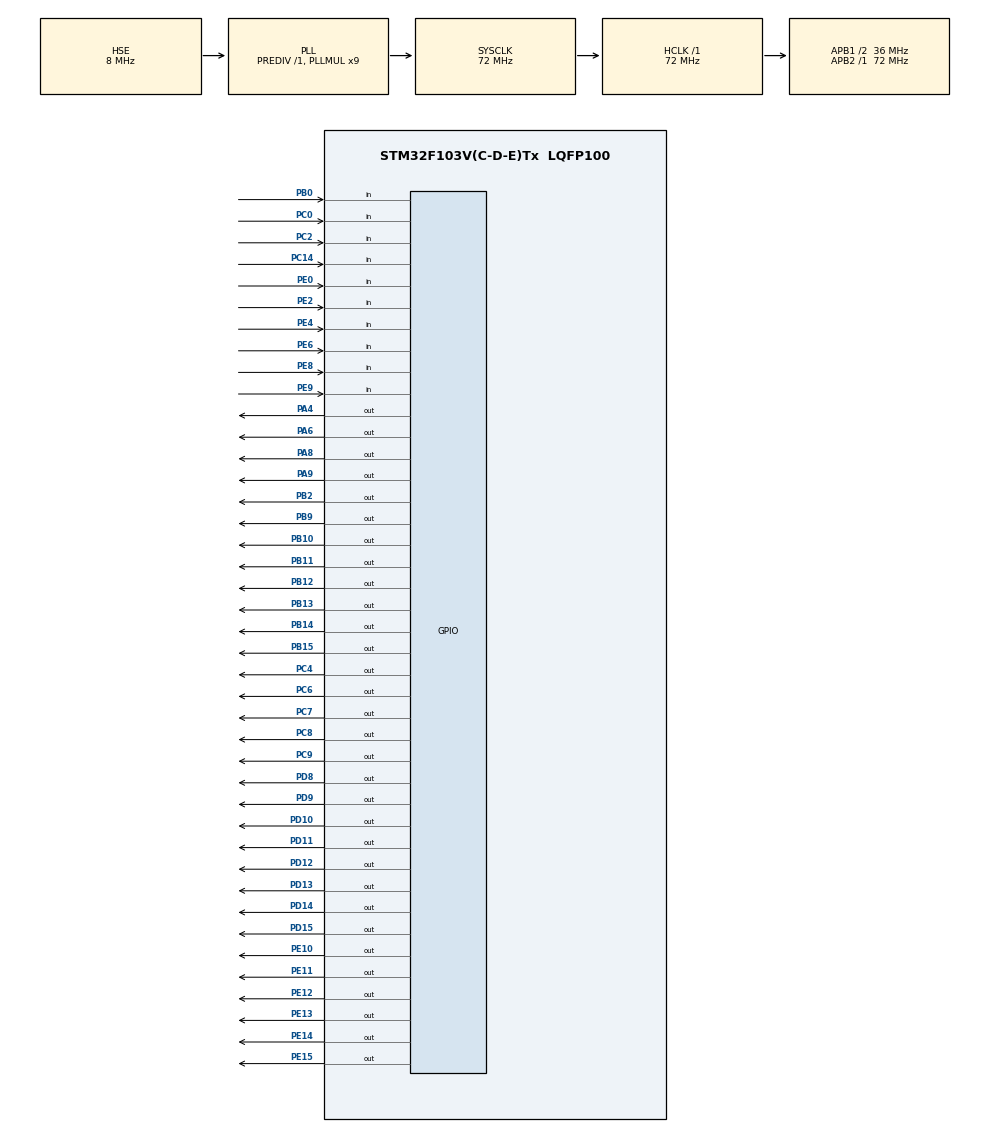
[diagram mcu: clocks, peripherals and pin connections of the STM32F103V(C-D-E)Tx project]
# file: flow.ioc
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Mcu.Family=STM32F1
Mcu.Name=STM32F103V(C-D-E)Tx
Mcu.Package=LQFP100
NVIC.PriorityGroup=NVIC_PRIORITYGROUP_4
NVIC.TIM2_IRQn=true\:0\:0\:false\:false\:true
OSC_IN.Mode=HSE-External-Oscillator
OSC_IN.Signal=RCC_OSC_IN
OSC_OUT.Mode=HSE-External-Oscillator
OSC_OUT.Signal=RCC_OSC_OUT
PA13.Mode=JTAG_4_pins
PA13.Signal=SYS_JTMS-SWDIO
PA14.Mode=JTAG_4_pins
PA14.Signal=SYS_JTCK-SWCLK
PA15.Mode=JTAG_4_pins
PA15.Signal=SYS_JTDI
PA4.Signal=GPIO_Output
PA6.Signal=GPIO_Output
PA8.Signal=GPIO_Output
PA9.Signal=GPIO_Output
PB0.GPIO_PuPd=GPIO_PULLUP
PB0.Signal=GPIO_Input
PB10.Signal=GPIO_Output
PB11.Signal=GPIO_Output
PB12.Signal=GPIO_Output
PB13.Signal=GPIO_Output
PB14.Signal=GPIO_Output
PB15.Signal=GPIO_Output
PB2.Signal=GPIO_Output
PB3.Mode=JTAG_4_pins
PB3.Signal=SYS_JTDO-TRACESWO
PB9.Signal=GPIO_Output
PC0.GPIO_PuPd=GPIO_PULLUP
PC0.Signal=GPIO_Input
PC14-OSC32_IN.GPIO_PuPd=GPIO_PULLUP
PC14-OSC32_IN.Signal=GPIO_Input
PC2.GPIO_PuPd=GPIO_PULLUP
PC2.Signal=GPIO_Input
PC4.Signal=GPIO_Output
PC6.Signal=GPIO_Output
PC7.Signal=GPIO_Output
PC8.Signal=GPIO_Output
PC9.Signal=GPIO_Output
PD10.Signal=GPIO_Output
PD11.Signal=GPIO_Output
PD12.Signal=GPIO_Output
PD13.Signal=GPIO_Output
PD14.Signal=GPIO_Output
PD15.Signal=GPIO_Output
PD8.Signal=GPIO_Output
PD9.Signal=GPIO_Output
PE0.GPIO_PuPd=GPIO_PULLUP
PE0.Signal=GPIO_Input
PE10.Signal=GPIO_Output
PE11.Signal=GPIO_Output
PE12.Signal=GPIO_Output
PE13.Signal=GPIO_Output
PE14.Signal=GPIO_Output
PE15.Signal=GPIO_Output
PE2.GPIO_PuPd=GPIO_PULLUP
PE2.Signal=GPIO_Input
PE4.GPIO_PuPd=GPIO_PULLUP
PE4.Signal=GPIO_Input
PE6.GPIO_PuPd=GPIO_PULLUP
PE6.Signal=GPIO_Input
PE8.GPIO_PuPd=GPIO_PULLUP
PE8.Signal=GPIO_Input
PE9.GPIO_PuPd=GPIO_PULLUP
PE9.Signal=GPIO_Input
ProjectManager.HeapSize=0x200
ProjectManager.StackSize=0x400
ProjectManager.TargetToolchain=MDK-ARM V5
RCC.AHBFreq_Value=72000000
RCC.APB1CLKDivider=RCC_HCLK_DIV2
RCC.APB1Freq_Value=36000000
RCC.APB1TimFreq_Value=72000000
RCC.APB2Freq_Value=72000000
RCC.APB2TimFreq_Value=72000000
RCC.HCLKFreq_Value=72000000
RCC.HSIState=RCC_HSI_ON
RCC.PLLMUL=RCC_PLL_MUL9
RCC.PLLSourceVirtual=RCC_PLLSOURCE_HSE
RCC.SYSCLKFreq_VALUE=72000000
RCC.SYSCLKSource=RCC_SYSCLKSOURCE_PLLCLK
RCC.USBFreq_Value=72000000
TIM2.Period=100-1
TIM2.Prescaler=72-1
VP_TIM2_VS_ClockSourceINT.Mode=Internal
board=flow

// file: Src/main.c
/**
  ******************************************************************************
  * File Name          : main.c
  * Description        : Main program body
  ******************************************************************************
  *
  * COPYRIGHT(c) 2016 STMicroelectronics
  *
  * Redistribution and use in source and binary forms, with or without modification,
  * are permitted provided that the following conditions are met:
  *   1. Redistributions of source code must retain the above copyright notice,
  *      this list of conditions and the following disclaimer.
  *   2. Redistributions in binary form must reproduce the above copyright notice,
  *      this list of conditions and the following disclaimer in the documentation
  *      and/or other materials provided with the distribution.
  *   3. Neither the name of STMicroelectronics nor the names of its contributors
  *      may be used to endorse or promote products derived from this software
  *      without specific prior written permission.
  *
  * THIS SOFTWARE IS PROVIDED BY THE COPYRIGHT HOLDERS AND CONTRIBUTORS "AS IS"
  * AND ANY EXPRESS OR IMPLIED WARRANTIES, INCLUDING, BUT NOT LIMITED TO, THE
  * IMPLIED WARRANTIES OF MERCHANTABILITY AND FITNESS FOR A PARTICULAR PURPOSE ARE
  * DISCLAIMED. IN NO EVENT SHALL THE COPYRIGHT HOLDER OR CONTRIBUTORS BE LIABLE
  * FOR ANY DIRECT, INDIRECT, INCIDENTAL, SPECIAL, EXEMPLARY, OR CONSEQUENTIAL
  * DAMAGES (INCLUDING, BUT NOT LIMITED TO, PROCUREMENT OF SUBSTITUTE GOODS OR
  * SERVICES; LOSS OF USE, DATA, OR PROFITS; OR BUSINESS INTERRUPTION) HOWEVER
  * CAUSED AND ON ANY THEORY OF LIABILITY, WHETHER IN CONTRACT, STRICT LIABILITY,
  * OR TORT (INCLUDING NEGLIGENCE OR OTHERWISE) ARISING IN ANY WAY OUT OF THE USE
  * OF THIS SOFTWARE, EVEN IF ADVISED OF THE POSSIBILITY OF SUCH DAMAGE.
  *
  ******************************************************************************
  */
#include "stm32f1xx_hal.h"

/* USER CODE BEGIN Includes */
#include "userinc.h"
#include "key.h"
#include "flow.h"
#include "OLED.h"
/* USER CODE END Includes */

TIM_HandleTypeDef htim2;

/* USER CODE BEGIN PV */
/* Private variables ---------------------------------------------------------*/
int key_last,key_get,key_now,key_push;
extern int led_pwm[25],led_play[25],light[25];
long Time;
int string_show;
/* USER CODE END PV */

void SystemClock_Config(void);
void Error_Handler(void);
static void MX_GPIO_Init(void);
static void MX_TIM2_Init(void);

/* USER CODE BEGIN PFP */
/* Private function prototypes -----------------------------------------------*/
void init_all(void);
/* USER CODE END PFP */

int main(void)
{

  /* MCU Configuration----------------------------------------------------------*/

  /* Reset of all peripherals, Initializes the Flash interface and the Systick. */
  HAL_Init();

  /* Configure the system clock */
  SystemClock_Config();

  /* Initialize all configured peripherals */
  MX_GPIO_Init();
  MX_TIM2_Init();

  /* USER CODE BEGIN 2 */
	init_all();
  /* USER CODE END 2 */

  /* Infinite loop */
  while (1)
  {

  /* USER CODE BEGIN 3 */
		/*oled屏幕随人经过而显示*/
		LCD_P6x8Str(30,0,"Group 6");
		switch(string_show)
		{
			case 0:LCD_CLS();break;

			case 17:LCD_P6x8Str(24+60,4,"y");
			case 16:LCD_P6x8Str(24+54,4,"t");
			case 15:LCD_P6x8Str(24+48,4,"i");
			case 14:LCD_P6x8Str(24+42,4,"s");
			case 13:LCD_P6x8Str(24+36,4,"r");
			case 12:LCD_P6x8Str(24+30,4,"e");
			case 11:LCD_P6x8Str(24+24,4,"v");
			case 10:LCD_P6x8Str(24+18,4,"i");
			case 9:LCD_P6x8Str (24+12,4,"n");
			case 8:LCD_P6x8Str (24+6,4,"U");

			case 7:LCD_P6x8Str(36+42,2,"n");
			case 6:LCD_P6x8Str(36+36,2,"i");
			case 5:LCD_P6x8Str(36+30,2,"j");
			case 4:LCD_P6x8Str(36+24,2,"n");
			case 3:LCD_P6x8Str(36+18,2,"a");
			case 2:LCD_P6x8Str(36+12,2,"i");
			case 1:LCD_P6x8Str(36+6,2,"T");

			default : break;
		}
  }
  /* USER CODE END 3 */

}

/** System Clock Configuration
*/
void SystemClock_Config(void)
{

  RCC_OscInitTypeDef RCC_OscInitStruct;
  RCC_ClkInitTypeDef RCC_ClkInitStruct;

  RCC_OscInitStruct.OscillatorType = RCC_OSCILLATORTYPE_HSE;
  RCC_OscInitStruct.HSEState = RCC_HSE_ON;
  RCC_OscInitStruct.HSEPredivValue = RCC_HSE_PREDIV_DIV1;
  RCC_OscInitStruct.PLL.PLLState = RCC_PLL_ON;
  RCC_OscInitStruct.PLL.PLLSource = RCC_PLLSOURCE_HSE;
  RCC_OscInitStruct.PLL.PLLMUL = RCC_PLL_MUL9;
  if (HAL_RCC_OscConfig(&RCC_OscInitStruct) != HAL_OK)
  {
    Error_Handler();
  }

  RCC_ClkInitStruct.ClockType = RCC_CLOCKTYPE_HCLK|RCC_CLOCKTYPE_SYSCLK
                              |RCC_CLOCKTYPE_PCLK1|RCC_CLOCKTYPE_PCLK2;
  RCC_ClkInitStruct.SYSCLKSource = RCC_SYSCLKSOURCE_PLLCLK;
  RCC_ClkInitStruct.AHBCLKDivider = RCC_SYSCLK_DIV1;
  RCC_ClkInitStruct.APB1CLKDivider = RCC_HCLK_DIV2;
  RCC_ClkInitStruct.APB2CLKDivider = RCC_HCLK_DIV1;
  if (HAL_RCC_ClockConfig(&RCC_ClkInitStruct, FLASH_LATENCY_2) != HAL_OK)
  {
    Error_Handler();
  }

  HAL_SYSTICK_Config(HAL_RCC_GetHCLKFreq()/1000);

  HAL_SYSTICK_CLKSourceConfig(SYSTICK_CLKSOURCE_HCLK);

  /* SysTick_IRQn interrupt configuration */
  HAL_NVIC_SetPriority(SysTick_IRQn, 0, 0);
}

/* TIM2 init function */
static void MX_TIM2_Init(void)
{

  TIM_ClockConfigTypeDef sClockSourceConfig;
  TIM_MasterConfigTypeDef sMasterConfig;

  htim2.Instance = TIM2;
  htim2.Init.Prescaler = 72-1;
  htim2.Init.CounterMode = TIM_COUNTERMODE_UP;
  htim2.Init.Period = 100-1;
  htim2.Init.ClockDivision = TIM_CLOCKDIVISION_DIV1;
  if (HAL_TIM_Base_Init(&htim2) != HAL_OK)
  {
    Error_Handler();
  }

  sClockSourceConfig.ClockSource = TIM_CLOCKSOURCE_INTERNAL;
  if (HAL_TIM_ConfigClockSource(&htim2, &sClockSourceConfig) != HAL_OK)
  {
    Error_Handler();
  }

  sMasterConfig.MasterOutputTrigger = TIM_TRGO_RESET;
  sMasterConfig.MasterSlaveMode = TIM_MASTERSLAVEMODE_DISABLE;
  if (HAL_TIMEx_MasterConfigSynchronization(&htim2, &sMasterConfig) != HAL_OK)
  {
    Error_Handler();
  }

}

/** Configure pins as
        * Analog
        * Input
        * Output
        * EVENT_OUT
        * EXTI
*/
static void MX_GPIO_Init(void)
{

  GPIO_InitTypeDef GPIO_InitStruct;

  /* GPIO Ports Clock Enable */
  __HAL_RCC_GPIOE_CLK_ENABLE();
  __HAL_RCC_GPIOC_CLK_ENABLE();
  __HAL_RCC_GPIOA_CLK_ENABLE();
  __HAL_RCC_GPIOB_CLK_ENABLE();
  __HAL_RCC_GPIOD_CLK_ENABLE();

  /*Configure GPIO pins : PE2 PE4 PE6 PE8
                           PE9 PE0 */
  GPIO_InitStruct.Pin = GPIO_PIN_2|GPIO_PIN_4|GPIO_PIN_6|GPIO_PIN_8
                          |GPIO_PIN_9|GPIO_PIN_0;
  GPIO_InitStruct.Mode = GPIO_MODE_INPUT;
  GPIO_InitStruct.Pull = GPIO_PULLUP;
  HAL_GPIO_Init(GPIOE, &GPIO_InitStruct);

  /*Configure GPIO pins : PC14 PC0 PC2 */
  GPIO_InitStruct.Pin = GPIO_PIN_14|GPIO_PIN_0|GPIO_PIN_2;
  GPIO_InitStruct.Mode = GPIO_MODE_INPUT;
  GPIO_InitStruct.Pull = GPIO_PULLUP;
  HAL_GPIO_Init(GPIOC, &GPIO_InitStruct);

  /*Configure GPIO pins : PA4 PA6 PA8 PA9 */
  GPIO_InitStruct.Pin = GPIO_PIN_4|GPIO_PIN_6|GPIO_PIN_8|GPIO_PIN_9;
  GPIO_InitStruct.Mode = GPIO_MODE_OUTPUT_PP;
  GPIO_InitStruct.Speed = GPIO_SPEED_FREQ_LOW;
  HAL_GPIO_Init(GPIOA, &GPIO_InitStruct);

  /*Configure GPIO pins : PC4 PC6 PC7 PC8
                           PC9 */
  GPIO_InitStruct.Pin = GPIO_PIN_4|GPIO_PIN_6|GPIO_PIN_7|GPIO_PIN_8
                          |GPIO_PIN_9;
  GPIO_InitStruct.Mode = GPIO_MODE_OUTPUT_PP;
  GPIO_InitStruct.Speed = GPIO_SPEED_FREQ_LOW;
  HAL_GPIO_Init(GPIOC, &GPIO_InitStruct);

  /*Configure GPIO pin : PB0 */
  GPIO_InitStruct.Pin = GPIO_PIN_0;
  GPIO_InitStruct.Mode = GPIO_MODE_INPUT;
  GPIO_InitStruct.Pull = GPIO_PULLUP;
  HAL_GPIO_Init(GPIOB, &GPIO_InitStruct);

  /*Configure GPIO pins : PB2 PB10 PB11 PB12
                           PB13 PB14 PB15 PB9 */
  GPIO_InitStruct.Pin = GPIO_PIN_2|GPIO_PIN_10|GPIO_PIN_11|GPIO_PIN_12
                          |GPIO_PIN_13|GPIO_PIN_14|GPIO_PIN_15|GPIO_PIN_9;
  GPIO_InitStruct.Mode = GPIO_MODE_OUTPUT_PP;
  GPIO_InitStruct.Speed = GPIO_SPEED_FREQ_LOW;
  HAL_GPIO_Init(GPIOB, &GPIO_InitStruct);

  /*Configure GPIO pins : PE10 PE11 PE12 PE13
                           PE14 PE15 */
  GPIO_InitStruct.Pin = GPIO_PIN_10|GPIO_PIN_11|GPIO_PIN_12|GPIO_PIN_13
                          |GPIO_PIN_14|GPIO_PIN_15;
  GPIO_InitStruct.Mode = GPIO_MODE_OUTPUT_PP;
  GPIO_InitStruct.Speed = GPIO_SPEED_FREQ_LOW;
  HAL_GPIO_Init(GPIOE, &GPIO_InitStruct);

  /*Configure GPIO pins : PD8 PD9 PD10 PD11
                           PD12 PD13 PD14 PD15 */
  GPIO_InitStruct.Pin = GPIO_PIN_8|GPIO_PIN_9|GPIO_PIN_10|GPIO_PIN_11
                          |GPIO_PIN_12|GPIO_PIN_13|GPIO_PIN_14|GPIO_PIN_15;
  GPIO_InitStruct.Mode = GPIO_MODE_OUTPUT_PP;
  GPIO_InitStruct.Speed = GPIO_SPEED_FREQ_LOW;
  HAL_GPIO_Init(GPIOD, &GPIO_InitStruct);

  /*Configure GPIO pin Output Level */
  HAL_GPIO_WritePin(GPIOA, GPIO_PIN_4|GPIO_PIN_6|GPIO_PIN_8|GPIO_PIN_9, GPIO_PIN_RESET);

  /*Configure GPIO pin Output Level */
  HAL_GPIO_WritePin(GPIOC, GPIO_PIN_4|GPIO_PIN_6|GPIO_PIN_7|GPIO_PIN_8
                          |GPIO_PIN_9, GPIO_PIN_RESET);

  /*Configure GPIO pin Output Level */
  HAL_GPIO_WritePin(GPIOB, GPIO_PIN_2|GPIO_PIN_10|GPIO_PIN_11|GPIO_PIN_12
                          |GPIO_PIN_13|GPIO_PIN_14|GPIO_PIN_15|GPIO_PIN_9, GPIO_PIN_RESET);

  /*Configure GPIO pin Output Level */
  HAL_GPIO_WritePin(GPIOE, GPIO_PIN_10|GPIO_PIN_11|GPIO_PIN_12|GPIO_PIN_13
                          |GPIO_PIN_14|GPIO_PIN_15, GPIO_PIN_RESET);

  /*Configure GPIO pin Output Level */
  HAL_GPIO_WritePin(GPIOD, GPIO_PIN_8|GPIO_PIN_9|GPIO_PIN_10|GPIO_PIN_11
                          |GPIO_PIN_12|GPIO_PIN_13|GPIO_PIN_14|GPIO_PIN_15, GPIO_PIN_RESET);

}

/* USER CODE BEGIN 4 */

void HAL_TIM_PeriodElapsedCallback(TIM_HandleTypeDef *htim)
{
  /* Prevent unused argument(s) compilation warning */
  UNUSED(htim);
  /* NOTE : This function Should not be modified, when the callback is needed,
            the __HAL_TIM_PeriodElapsedCallback could be implemented in the user file
   */
	if (htim->Instance == htim2.Instance)
	{
		/*100us interrupt timer*/
		Time++;
		/*10ms按键检测*/
		if(Time%100 == 0)
		{
			/*定时器测试*/
			if(Time%1000 == 0)
				HAL_GPIO_TogglePin(GPIOB,GPIO_PIN_9);
			/*获得键值、消抖*/
			key_get = GetKey();

			if(GetKey() == key_get)
				key_now = key_get;
			else
				key_now = key_last;
			/*计算pwm*/
			Key2Pwm(key_now);
			LightDown();

			key_last = key_now;
		}
		/*pwm实现*/
		Pwm2Play();
		LightPlay();

	}

}

void init_all()
{
	HAL_GPIO_WritePin(GPIOE,GPIO_PIN_10,GPIO_PIN_SET);
	HAL_GPIO_WritePin(GPIOE,GPIO_PIN_11,GPIO_PIN_SET);
	HAL_GPIO_WritePin(GPIOE,GPIO_PIN_12,GPIO_PIN_SET);
	HAL_GPIO_WritePin(GPIOE,GPIO_PIN_13,GPIO_PIN_SET);
	HAL_GPIO_WritePin(GPIOE,GPIO_PIN_14,GPIO_PIN_SET);

	key_last = key_now = key_get = 0;
	for(int i=0;i<25;i++)
	{
			led_pwm[i] = _FULL_LIGHT;
	}
	HAL_TIM_Base_Start_IT(&htim2);

	OLED_Init();
}
/* USER CODE END 4 */

void Error_Handler(void)
{
  while(1)
  {
  }
}

/************************ (C) COPYRIGHT STMicroelectronics *****END OF FILE****/
